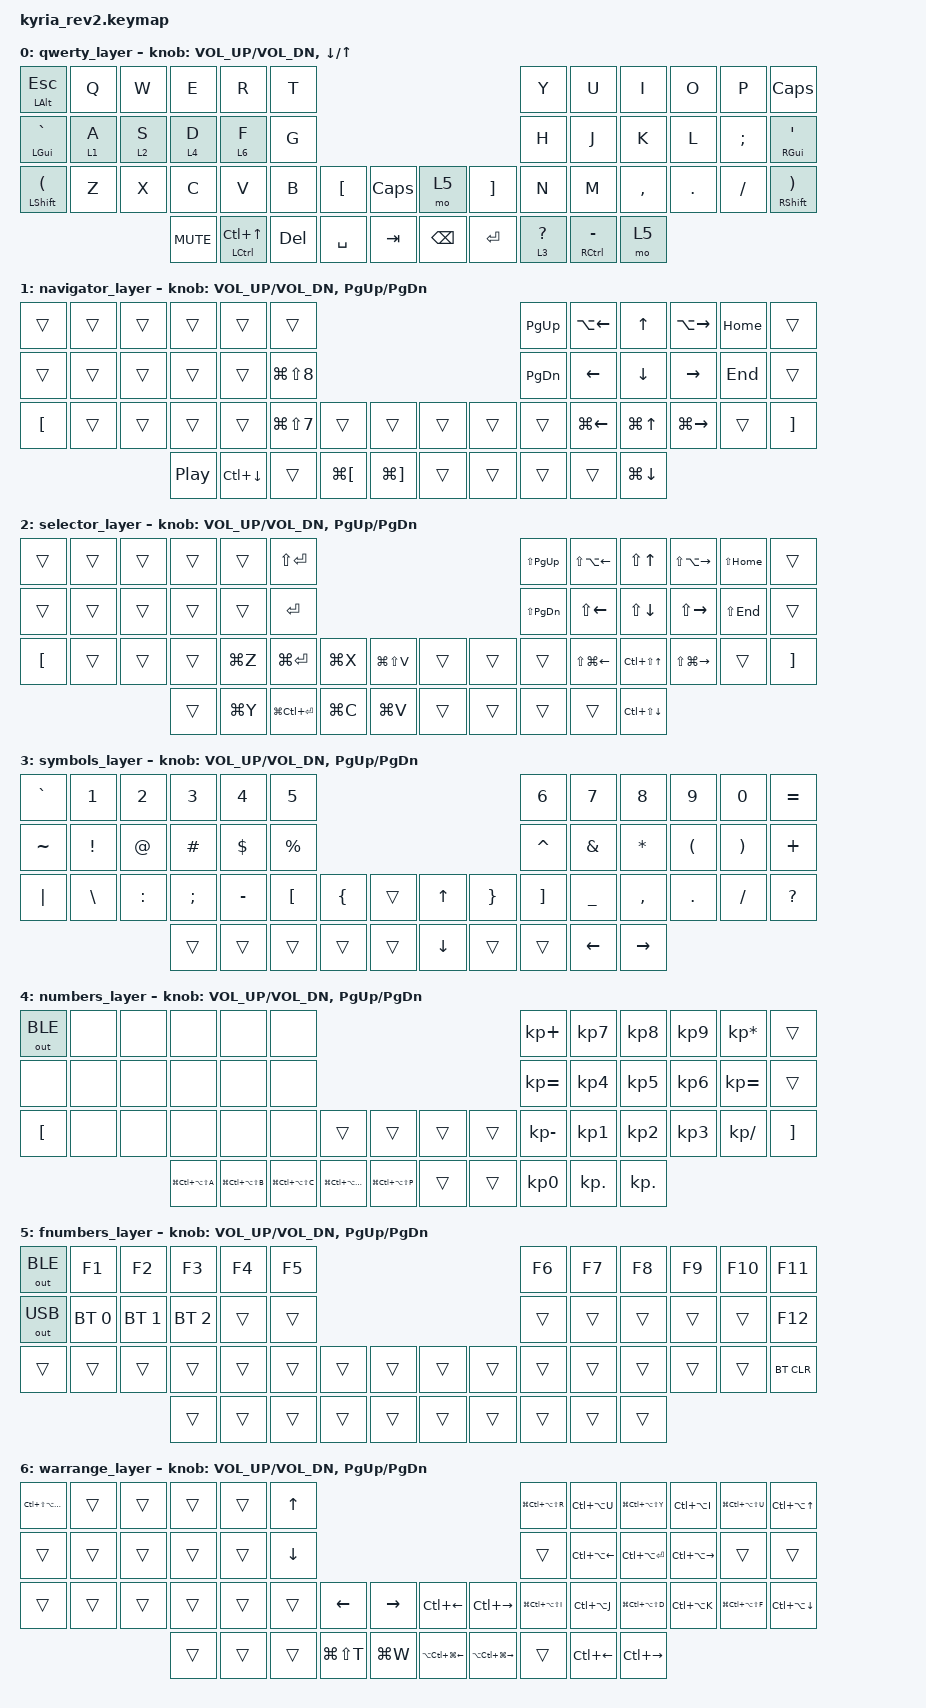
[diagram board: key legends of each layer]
/*
 * Copyright (c) 2020 The ZMK Contributors
 *
 * SPDX-License-Identifier: MIT
 */

#include <behaviors.dtsi>
#include <dt-bindings/zmk/keys.h>

#include <dt-bindings/zmk/bt.h>
#include <dt-bindings/zmk/ext_power.h>
#include <dt-bindings/zmk/outputs.h>

#define QWERTY  0
#define NAVIGATOR	1
#define SELECTOR 2
#define SYMBOLS 3
#define NUMBERS 4
#define FNUMBERS 5
#define WARRANGE 6

&left_encoder { resolution = <2>; };
&right_encoder { resolution = <2>; };

/ {
	combos {
	    compatible = "zmk,combos";
	    obs_up {
	        timeout-ms = <50>;
	        key-positions = <7 8 9>;
	        bindings = <&kp LS(LA(LC(X)))>;
	    };
	    obs_down {
	        timeout-ms = <50>;
	        key-positions = <35 36 37>;
	        bindings = <&kp LS(LA(LC(Z)))>;
	    };
	    obs_foldall {
	        timeout-ms = <50>;
	        key-positions = <45 18>;
	        bindings = <&kp LS(LG(N8))>;
	    };
	    obs_fold {
	        timeout-ms = <50>;
	        key-positions = <45 20>;
	        bindings = <&kp LS(LG(N9))>;
	    };
	    obs_unfold {
	        timeout-ms = <50>;
	        key-positions = <45 19>;
	        bindings = <&kp LS(LG(N7))>;
	    };
		left_1 {
	        timeout-ms = <50>;
	        key-positions = <2 3 4>;
	        bindings = <&kp N1>;
	    };
		hyper_l {
	        timeout-ms = <50>;
	        key-positions = <0 12 24>;
	        bindings = <&kp LS(LA(LC(LGUI)))>;
	    };
		hyper_r {
	        timeout-ms = <50>;
	        key-positions = <11 23 39>;
	        bindings = <&kp LS(LA(LC(LGUI)))>;
	    };
	};
	
	behaviors {
	        hm: homerow_mods {
	            compatible = "zmk,behavior-hold-tap";
	            label = "HOMEROW_MODS";
	            #binding-cells = <2>;
	            tapping-term-ms = <200>;
	            quick_tap_ms = <0>;
	            flavor = "tap-preferred";
	            bindings = <&mo>, <&kp>;
	        };
	        fmt: custom_layer_tap {
	            compatible = "zmk,behavior-hold-tap";
	            label = "FAST_MOD_TAP";
	            #binding-cells = <2>;
	            flavor = "tap-preferred";
	            tapping-term-ms = <150>;
	            quick_tap_ms = <0>;
	            bindings = <&kp>, <&kp>;
	        };
	    };
		
	keymap {
		compatible = "zmk,keymap";
/*
 *
 * Base Layer: QWERTY
 *
 * ,-------------------------------------------.                              ,-------------------------------------------.
 * | 0      |   Q  |   W  |   E  |   R  |   T  |                              |   6  |   U  |   I  |   O  |   P  | CAPS   |
 * |--------+------+------+------+------+------|                              |------+------+------+------+------+--------|
 * |12      |A/NAV |S/SEL | D/NUM|F/Warr|   G  |                              |  18  |   J  |   K  |   L  | ;  : |RGUI/' "|
 * |--------+------+------+------+------+------+-------------.  ,-------------+------+------+------+------+------+--------|
 * | 24     |   Z  |   X  |   C  |   V  |   B  | [ {  | 31   |  |32.   |  ] } |   N  |   M  | ,  < | . >  | /  ? | RShift |
 * `----------------------+------+------+------+------+------|  |------+------+------+------+------+----------------------'	
 *                        |40    |MisCtr| DEL  | Space| TAB  |  | 45   | ENTER|  ?   |   -  |F-keys|
 *                        |      | LCTR |      |      |      |  |      |      | SYM  | RCTR |      |
 *                        `----------------------------------'  `----------------------------------'
 */

		qwerty_layer {
/*
 *
 * Base Layer: QWERTY
 *
 * ,-------------------------------------------.                              ,-------------------------------------------.
 * |ALT/ESC |   Q  |   W  |   E  |   R  |   T  |                              |   Y  |   U  |   I  |   O  |   P  | CAPS   |
 * |--------+------+------+------+------+------|                              |------+------+------+------+------+--------|
 * |GUI/GRAV|A/NAV |S/SEL | D/NUM|F/Warr|   G  |                              |   H  |   J  |   K  |   L  | ;  : |RGUI/' "|
 * |--------+------+------+------+------+------+-------------.  ,-------------+------+------+------+------+------+--------|
 * | LShift |   Z  |   X  |   C  |   V  |   B  | [ {  | CAPS |  |F-keys|  ] } |   N  |   M  | ,  < | . >  | /  ? | RShift |
 * `----------------------+------+------+------+------+------|  |------+------+------+------+------+----------------------'	
 *                        |MUTE  |MisCtr| DEL  | Space| TAB  |  | BSPC | ENTER|  ?   |   -  |F-keys|
 *                        |      | LCTR |      |      |      |  |      |      | SYM  | RCTR |      |
 *                        `----------------------------------'  `----------------------------------'
 */
			bindings = <
     &fmt LALT ESC    &kp Q   &kp W   &kp E        &kp R            &kp T                                              &kp Y       &kp U           &kp I     &kp O   &kp P     &kp CAPS
     &fmt LGUI GRAVE  &hm 1 A &hm 2 S &hm 4 D      &hm 6 F          &kp G                                              &kp H       &kp J           &kp K     &kp L   &kp SEMI  &fmt RGUI SQT
     &fmt LSHIFT LPAR &kp Z   &kp X   &kp C        &kp V            &kp B   &kp LBKT &kp CAPS      &mo 5    &kp RBKT   &kp N       &kp M           &kp COMMA &kp DOT &kp SLASH &fmt RSHIFT RPAR
                                      &kp C_MUTE &mt LCTRL LC(UP)   &kp DEL &kp SPACE &kp TAB      &kp BSPC &kp ENTER  &hm 3 QMARK &mt RCTRL MINUS &mo 5
			>;

			sensor-bindings = <&inc_dec_kp C_VOL_UP C_VOL_DN &inc_dec_kp DOWN UP>;
		};
		
		navigator_layer {
/*
 * Nav Layer: Media, navigation
 *
 * ,-------------------------------------------.                              ,-------------------------------------------.
 * |        |      |      |      |      |      |                              | PgUp | Alt← |   ↑  | Alt→ | Home |        |
 * |--------+------+------+------+------+------|                              |------+------+------+------+------+--------|
 * |        |   x  |      |      |      |Bullet|                              | PgDn |  ←   |   ↓  |   →  | End  |        |
 * |--------+------+------+------+------+------+-------------.  ,-------------+------+------+------+------+------+--------|
 * |    [   |      |      |      |      |NList |      |      |  |      |      |      | Gui← |Gui ↑ | Gui→ |      |   ]    |
 * `----------------------+------+------+------+------+------|  |------+------+------+------+------+----------------------'
 *                        | Play |ShApp |      |Ind L |Ind R |  |      |      |      |      |Gui ↓ |
 *                        | Pause|      |      |      |      |  |      |      |      |      |      |
 *                        `----------------------------------'  `----------------------------------'
 */
			bindings = <
      &trans   &trans &trans &trans           &trans       &trans                                                     &kp PG_UP  &kp LA(LEFT) &kp UP       &kp LA(RIGHT) &kp HOME  &trans
      &trans   &trans &trans &trans           &trans       &kp LG(LS(N8))                                             &kp PG_DN  &kp LEFT     &kp DOWN     &kp RIGHT     &kp END   &trans
      &kp LBKT &trans &trans &trans           &trans       &kp LG(LS(N7)) &trans       &trans          &trans  &trans &trans     &kp LG(LEFT) &kp LG(UP)   &kp LG(RIGHT) &trans    &kp RBKT
                             &kp C_PLAY_PAUSE &kp LC(DOWN) &trans         &kp LG(LBKT) &kp LG(RBKT)    &trans  &trans &trans     &trans       &kp LG(DOWN)
			>;

			sensor-bindings = <&inc_dec_kp C_VOL_UP C_VOL_DN &inc_dec_kp PG_UP PG_DN>;
		};

		selector_layer {
/*
 * Nav Layer: Select, copy/paste  ALL of right side is Shift+
 *
 * ,-------------------------------------------.                              ,-------------------------------------------.
 * |        |      |      |      |      |SEnter|                              | PgUp | Alt← |   ↑  | Alt→ | Home |        |
 * |--------+------+------+------+------+------|                              |------+------+------+------+------+--------|
 * |        |      |   x  |      |      |Enter |                              | PgDn |  ←   |   ↓  |   →  | End  |        |
 * |--------+------+------+------+------+------+-------------.  ,-------------+------+------+------+------+------+--------|
 * |    [   |      |      |      | Undo |GEnter| Cut  |PstClr|  |      |      |      | Gui← |Ctr ↑ | Gui→ |      |   ]    |
 * `----------------------+------+------+------+------+------|  |------+------+------+------+------+----------------------'
 *                        |      | Redo |Linki |Copy  | Paste|  |      |      |      |      |Ctr ↓ |
 *                        |      |      |      |      |      |  |      |      |      |      |      |
 *                        `----------------------------------'  `----------------------------------'
 */
			bindings = <
      &trans   &trans &trans &trans &trans    &kp LS(ENTER)                                            &kp LS(PG_UP) &kp LS(LA(LEFT)) &kp LS(UP)       &kp LS(LA(RIGHT)) &kp LS(HOME) &trans
      &trans   &trans &trans &trans &trans    &kp ENTER                                                &kp LS(PG_DN) &kp LS(LEFT)     &kp LS(DOWN)     &kp LS(RIGHT)     &kp LS(END)  &trans
      &kp LBKT &trans &trans &trans &kp LG(Z) &kp LG(ENTER)     &kp LG(X) &kp LG(LS(V))  &trans &trans &trans        &kp LS(LG(LEFT)) &kp LC(LS(UP))   &kp LS(LG(RIGHT)) &trans       &kp RBKT
                             &trans &kp LG(Y) &kp LG(LC(ENTER)) &kp LG(C) &kp LG(V)      &trans &trans &trans        &trans           &kp LC(LS(DOWN)) 
			>;

			sensor-bindings = <&inc_dec_kp C_VOL_UP C_VOL_DN &inc_dec_kp PG_UP PG_DN>;
		};
		

		symbols_layer {
/*
 * Sym Layer: Numbers and symbols
 *
 * ,-------------------------------------------.                              ,-------------------------------------------.
 * |    `   |  1   |  2   |  3   |  4   |  5   |                              |   6  |  7   |  8   |  9   |  0   |   =    |
 * |--------+------+------+------+------+------|                              |------+------+------+------+------+--------|
 * |    ~   |  !   |  @   |  #   |  $   |  %   |                              |   ^  |  &   |  *   |  (   |  )   |   +    |
 * |--------+------+------+------+------+------+-------------.  ,-------------+------+------+------+------+------+--------|
 * |    |   |   \  |  :   |  ;   |  -   |  [   |  {   |      |  |   ↑  |   }  |   ]  |  _   |  ,   |  .   |  /   |   ?    |
 * `----------------------+------+-------------+------+------|  |------+------+------+------+------+----------------------'
 *                        |      |      |      |      |      |  |   ↓  |      |   x  |  ←   |  →   |
 *                        |      |      |      |      |      |  |      |      |      |      |      |
 *                        `----------------------------------'  `----------------------------------'
 */
			bindings = <
     &kp GRAVE &kp N1   &kp N2    &kp N3   &kp N4    &kp N5                                        &kp N6    &kp N7    &kp N8     &kp N9   &kp N0   &kp EQUAL
     &kp TILDE &kp EXCL &kp AT    &kp HASH &kp DLLR  &kp PRCNT                                     &kp CARET &kp AMPS  &kp ASTRK  &kp LPAR &kp RPAR &kp PLUS
     &kp PIPE  &kp BSLH &kp COLON &kp SEMI &kp MINUS &kp LBKT &kp LBRC &trans    &kp UP   &kp RBRC &kp RBKT  &kp UNDER &kp COMMA  &kp DOT  &kp FSLH &kp QMARK
                                  &trans   &trans    &trans   &trans   &trans    &kp DOWN &trans   &trans    &kp LEFT  &kp RIGHT
			>;

			sensor-bindings = <&inc_dec_kp C_VOL_UP C_VOL_DN &inc_dec_kp PG_UP PG_DN>;
		};
		

		numbers_layer {
/*
 * NUM Layer: Numbers and symbols
 *
 * ,-------------------------------------------.                              ,-------------------------------------------.
 * |   BLE  |      |      |      |      |      |                              |   +  |  7   |  8   |  9   |  *   |        |
 * |--------+------+------+------+------+------|                              |------+------+------+------+------+--------|
 * |        |      |      |   x  |      |      |                              |   =  |  4   |  5   |  6   |  =   |        |
 * |--------+------+------+------+------+------+-------------.  ,-------------+------+------+------+------+------+--------|
 * |   [    |      |      |      |      |      |      |      |  |      |      |   -  |  1   |  2   |  3   |  /   |   ]    |
 * `----------------------+------+------+------+------+------|  |------+------+------+------+------+----------------------'
 *                        |Access|Smiley|SSPast| ACopy|APaste|  |      |      |  0   |  .   |  .   |
 *                        |      |      |      |      |      |  |      |      |      |      |      |
 *                        `----------------------------------'  `----------------------------------'
 */
			bindings = <
     &out OUT_BLE &none &none &none                 &none                 &none                                                                              &kp KP_PLUS  &kp KP_N7   &kp KP_N8  &kp KP_N9 &kp KP_ASTERISK &trans
     &none        &none &none &none                 &none                 &none                                                                              &kp KP_EQUAL &kp KP_N4   &kp KP_N5  &kp KP_N6 &kp KP_EQUAL    &trans
     &kp LBKT     &none &none &none                 &none                 &none                 &trans                &trans                   &trans &trans &kp KP_MINUS &kp KP_N1   &kp KP_N2  &kp KP_N3 &kp KP_SLASH    &kp RBKT
                              &kp LG(LC(LA(LS(A)))) &kp LG(LC(LA(LS(B)))) &kp LG(LC(LA(LS(C)))) &kp LG(LC(LA(LS(O)))) &kp LG(LC(LA(LS(P))))    &trans &trans &kp KP_N0    &kp KP_DOT  &kp KP_DOT
			>;

			sensor-bindings = <&inc_dec_kp C_VOL_UP C_VOL_DN &inc_dec_kp PG_UP PG_DN>;
		};

		fnumbers_layer {
/*
 * Function Layer: Function keys
 *
 * ,-------------------------------------------.                              ,-------------------------------------------.
 * | TOBLE  |  F1  | F2   | F3   | F4   | F5   |                              |  F6  | F7   | F8   | F9   | F10  | F11    |
 * |--------+------+------+------+------+------|                              |------+------+------+------+------+--------|
 * | TOUSB  | BT0  | BT1  | BT2  |      |      |                              |      |      |      |      |      | F12    |
 * +--------+------+------+------+------+------+-------------.  ,-------------+------+------+------+------+------+--------|
 * |        |      |      |      |      |      |      |      |  |      |      |      |      |      |      |      | CLR BT |
 * `----------------------+------+------+------+------+------|  |------+------+------+------+------+----------------------'
 *                        |      |      |      |      |      |  |      |      |      |      |   X  |
 *                        |      |      |      |      |      |  |      |      |      |      |      |
 *                        `----------------------------------'  `----------------------------------'
 */
			bindings = <
      &out OUT_BLE    &kp F1       &kp F2       &kp F3       &kp F4  &kp F5                                  &kp F6 &kp F7 &kp F8 &kp F9 &kp F10 &kp F11
      &out OUT_USB    &bt BT_SEL 0 &bt BT_SEL 1 &bt BT_SEL 2 &trans  &trans                                  &trans &trans &trans &trans &trans  &kp F12
      &trans          &trans       &trans       &trans       &trans  &trans &trans &trans    &trans  &trans  &trans &trans &trans &trans &trans  &bt BT_CLR 
                                                &trans       &trans  &trans &trans &trans    &trans  &trans  &trans &trans &trans 
			>;

			sensor-bindings = <&inc_dec_kp C_VOL_UP C_VOL_DN &inc_dec_kp PG_UP PG_DN>;
		};
		
		
		warrange_layer {
/*
 * Window Layer: Key shortcuts to manage rectangle
 *
 * ,-------------------------------------------.                              ,-------------------------------------------.
 * |  SLEEP |      |      |      |      |   ↑  |                              |  TL6 | CA U | TC6  | CA I | TR6  |   CAU  |
 * |--------+------+------+------+------+------|                              |------+------+------+------+------+--------|
 * |        |      |      |      |   X  |   ↓  |                              |      | CA < | CAEnt| > CA |      |        |
 * |--------+------+------+------+------+------+-------------.  ,-------------+------+------+------+------+------+--------|
 * |        |      |      |      |      |      |  ←   |   →  |  |      |      |  BL6 | CA J |  BC6 | CA K | BL6  |   CAB  |
 * `----------------------+------+------+------+------+------|  |------+------+------+------+------+----------------------'
 *                        |      |      |      |REOPEN|CLTAB |  | ACW< | ACW> |      | C<   | C>   |
 *                        |      |      |      | TAB  |      |  |      |      |      |      |      |
 *                        `----------------------------------'  `----------------------------------'
 */
			bindings = <
      &kp LC(LS(LA(LG(F12)))) &trans &trans &trans &trans &kp UP                                                                         &kp LG(LC(LA(LS(R))))  &kp LC(LA(U))     &kp LG(LC(LA(LS(Y))))    &kp LC(LA(I))     &kp LG(LC(LA(LS(U)))) &kp LC(LA(UP)) 
      &trans                  &trans &trans &trans &trans &kp DOWN                                                                       &trans                 &kp LC(LA(LEFT))  &kp LC(LA(ENTER)) &kp LC(LA(RIGHT)) &trans &trans 
      &trans                  &trans &trans &trans &trans &trans   &kp LEFT      &kp RIGHT    &kp LC(LEFT)         &kp LC(RIGHT)         &kp LG(LC(LA(LS(I))))  &kp LC(LA(J))     &kp LG(LC(LA(LS(D))))  &kp LC(LA(K))     &kp LG(LC(LA(LS(F)))) &kp LC(LA(DOWN))
                                            &trans &trans &trans   &kp LG(LS(T)) &kp LG(W)    &kp LA(LC(LG(LEFT))) &kp LA(LC(LG(RIGHT))) &trans                 &kp LC(LEFT)      &kp LC(RIGHT) 
			>;

			sensor-bindings = <&inc_dec_kp C_VOL_UP C_VOL_DN &inc_dec_kp PG_UP PG_DN>;
		};
	
		
		
		
		
		
	};
};
